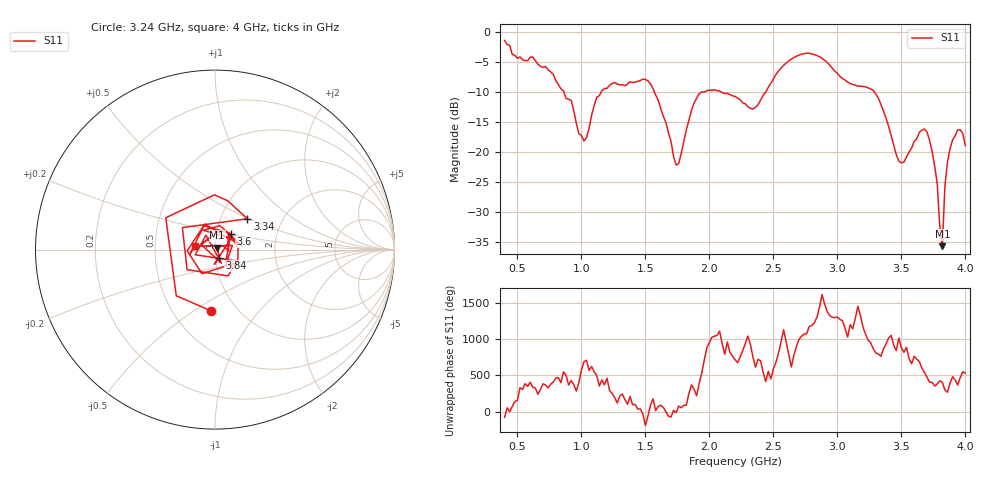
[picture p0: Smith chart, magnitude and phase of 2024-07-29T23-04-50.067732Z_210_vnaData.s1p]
!Created with skrf (http://scikit-rf.org).
# Hz S RI R 50.0
!freq ReS11 ImS11
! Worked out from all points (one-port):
!   181 points, 400 MHz to 4 GHz, reference 50 ohm
!   lowest |S11| = -35.7 dB at 3.82 GHz (marker M1), VSWR 1.03, Z = 51.2 + j1.18 ohm
!   |S11| at or under -10 dB: 1.57 GHz to 1.939 GHz (368.5 MHz wide, 21 % of centre); 2.092 GHz to 2.44 GHz (348.5 MHz wide, 15.4 % of centre); 3.289 GHz to end of sweep (the widest 3 of 5)
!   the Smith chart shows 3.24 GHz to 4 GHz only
!   S11 on the Smith chart (normalised r, x): 3.24 GHz: 0.76, -0.59; 3.34 GHz: 1.34, +0.49; 3.6 GHz: 1.17, +0.20; 3.84 GHz: 1.05, -0.10; 4 GHz: 0.80, +0.03
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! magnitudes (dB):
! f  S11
! 400 MHz  -1.4
! 860 MHz  -9.8
! 1.02 GHz  -18.2
! 1.12 GHz  -10.9
! 1.3 GHz  -8.8
! 1.54 GHz  -8.6
! 1.76 GHz  -22.0
! 1.86 GHz  -13.1
! 1.92 GHz  -10.3
! 2.2 GHz  -10.7
! 2.36 GHz  -12.6
! 2.66 GHz  -4.2
! 2.86 GHz  -4.1
! 3.1 GHz  -8.6
! 3.24 GHz  -9.3
! 3.34 GHz  -12.1
! 3.48 GHz  -21.5
! 3.56 GHz  -20.0
! 3.6 GHz  -18.3
! 3.68 GHz  -16.2
! 3.72 GHz  -18.0
! 3.78 GHz  -25.3
! 3.8 GHz  -32.5
! 3.82 GHz  -35.7
! 3.84 GHz  -25.7
! 3.9 GHz  -18.0
! 3.96 GHz  -16.3
! 4 GHz  -19.0
